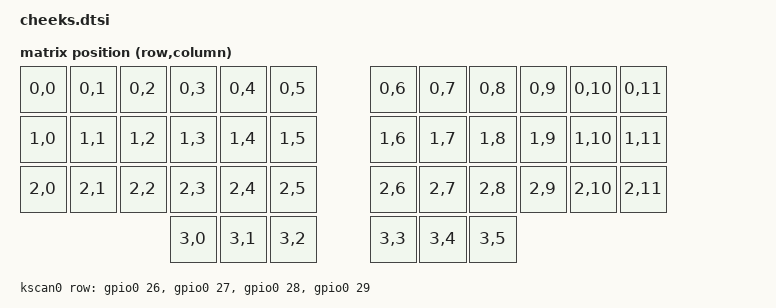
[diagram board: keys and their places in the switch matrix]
#include <dt-bindings/zmk/matrix_transform.h> // Put this with the other includes at the top of your dtsi

/ {
    chosen {
        zmk,kscan = &kscan0;
        zmk,physical-layout = &physical_layout0;
        // Other chosen items
    };
};

/ {
    default_transform: keymap_transform0 {
        compatible = "zmk,matrix-transform";
        columns = <12>;
        rows = <4>;
        map = <

            RC(0,0) RC(0,1) RC(0,2) RC(0,3) RC(0,4) RC(0,5)        RC(0,6) RC(0,7) RC(0,8) RC(0,9) RC(0,10) RC(0,11)

            RC(1,0) RC(1,1) RC(1,2) RC(1,3) RC(1,4) RC(1,5)        RC(1,6) RC(1,7) RC(1,8) RC(1,9) RC(1,10) RC(1,11)

            RC(2,0) RC(2,1) RC(2,2) RC(2,3) RC(2,4) RC(2,5)        RC(2,6) RC(2,7) RC(2,8) RC(2,9) RC(2,10) RC(2,11)

            RC(3,0) RC(3,1) RC(3,2) RC(3,3) RC(3,4) RC(3,5)        NONE NONE NONE NONE NONE NONE 
            
        >;
    };
};





/ {
    kscan0: kscan0 {
        compatible = "zmk,kscan-gpio-matrix";
        diode-direction = "col2row";
        wakeup-source;

        row-gpios
            = <&gpio0 26 (GPIO_ACTIVE_HIGH | GPIO_PULL_DOWN)>   // Row 1
            , <&gpio0 27 (GPIO_ACTIVE_HIGH | GPIO_PULL_DOWN)>   // Row 2
            , <&gpio0 28 (GPIO_ACTIVE_HIGH | GPIO_PULL_DOWN)>   // Row 3
            , <&gpio0 29 (GPIO_ACTIVE_HIGH | GPIO_PULL_DOWN)>;  // Row 4

        column-gpios
            = <&gpio0 14 (GPIO_ACTIVE_HIGH | GPIO_PULL_DOWN)>   // Column 1
            , <&gpio0 15 (GPIO_ACTIVE_HIGH | GPIO_PULL_DOWN)>   // Column 2
            , <&gpio0 16 (GPIO_ACTIVE_HIGH | GPIO_PULL_DOWN)>   // Column 3
            , <&gpio0 17 (GPIO_ACTIVE_HIGH | GPIO_PULL_DOWN)>   // Column 4
            , <&gpio0 18 (GPIO_ACTIVE_HIGH | GPIO_PULL_DOWN)>   // Column 5
            , <&gpio0 19 (GPIO_ACTIVE_HIGH | GPIO_PULL_DOWN)>   // Column 6
            , <&gpio0 20 (GPIO_ACTIVE_HIGH | GPIO_PULL_DOWN)>   // Column 7
            , <&gpio0 21 (GPIO_ACTIVE_HIGH | GPIO_PULL_DOWN)>   // Column 8
            , <&gpio0 22 (GPIO_ACTIVE_HIGH | GPIO_PULL_DOWN)>   // Column 9
            , <&gpio0 23 (GPIO_ACTIVE_HIGH | GPIO_PULL_DOWN)>   // Column 10
            , <&gpio0 24 (GPIO_ACTIVE_HIGH | GPIO_PULL_DOWN)>   // Column 11
            , <&gpio0 25 (GPIO_ACTIVE_HIGH | GPIO_PULL_DOWN)>;  // Column 12
    };
};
